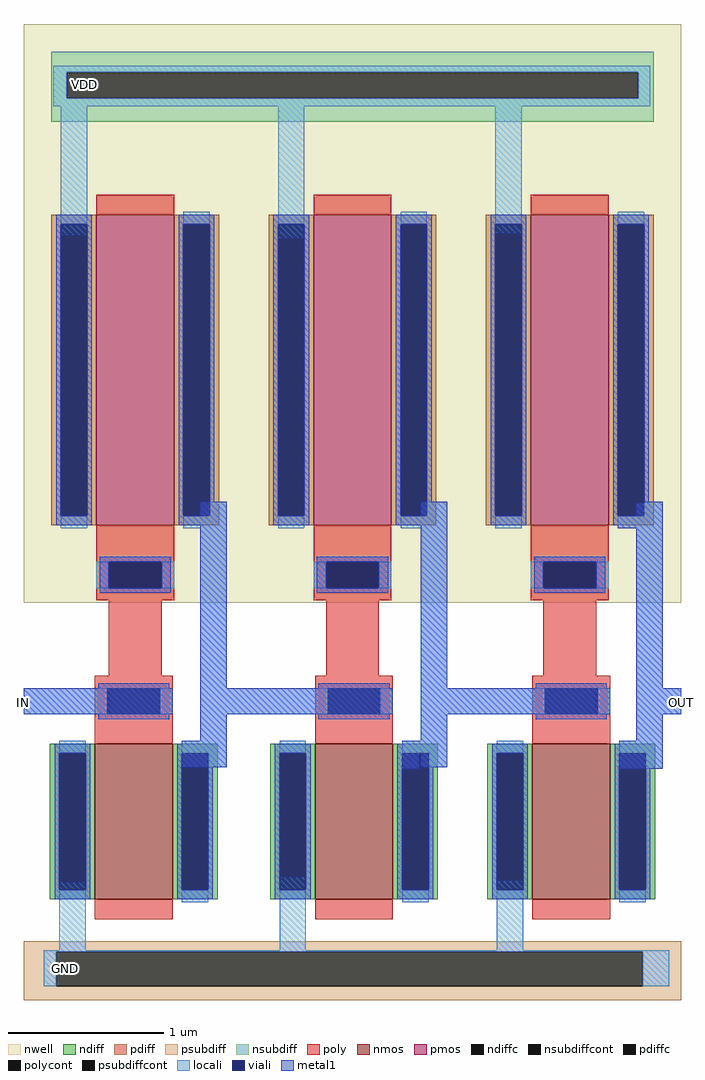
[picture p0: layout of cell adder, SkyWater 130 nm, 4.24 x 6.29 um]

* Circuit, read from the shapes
.subckt adder OUT IN GND VDD
XM1 n1 IN GND GND sky130_fd_pr__nfet_01v8 w=1 l=0.5
XM2 n2 n1 GND GND sky130_fd_pr__nfet_01v8 w=1 l=0.5
XM3 OUT n2 GND GND sky130_fd_pr__nfet_01v8 w=1 l=0.5
XM4 n1 IN VDD VDD sky130_fd_pr__pfet_01v8 w=2 l=0.5
XM5 n2 n1 VDD VDD sky130_fd_pr__pfet_01v8 w=2 l=0.5
XM6 OUT n2 VDD VDD sky130_fd_pr__pfet_01v8 w=2 l=0.5
.ends

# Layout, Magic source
magic
tech sky130A
magscale 1 2
<< nwell >>
rect 750 2052 1598 2236
rect 1550 1618 1574 1620
rect 1516 1586 1540 1590
<< psubdiff >>
rect 750 1040 1598 1054
rect 750 996 792 1040
rect 1548 996 1598 1040
rect 750 978 1598 996
<< nsubdiff >>
rect 786 2174 1562 2200
rect 786 2140 806 2174
rect 1542 2140 1562 2174
rect 786 2110 1562 2140
<< psubdiffcont >>
rect 792 996 1548 1040
<< nsubdiffcont >>
rect 806 2140 1542 2174
<< poly >>
rect 860 1344 928 1544
rect 1140 1344 1208 1544
rect 1420 1344 1488 1544
<< locali >>
rect 788 2174 1558 2182
rect 788 2140 806 2174
rect 1542 2140 1558 2174
rect 788 2130 1558 2140
rect 798 1964 832 2130
rect 1078 1960 1112 2130
rect 1358 1966 1392 2130
rect 978 1380 1012 1620
rect 1262 1380 1296 1620
rect 1550 1618 1574 1620
rect 1540 1590 1574 1618
rect 1516 1586 1574 1590
rect 1540 1380 1574 1586
rect 750 1346 942 1380
rect 978 1346 1226 1380
rect 1262 1346 1506 1380
rect 1540 1346 1598 1380
rect 978 1312 1012 1346
rect 1262 1312 1296 1346
rect 1540 1312 1574 1346
rect 954 1278 1012 1312
rect 1238 1308 1296 1312
rect 1238 1276 1260 1308
rect 1262 1278 1296 1308
rect 1518 1276 1574 1312
rect 796 1042 830 1130
rect 1080 1042 1114 1136
rect 1360 1042 1394 1132
rect 776 1040 1582 1042
rect 776 996 792 1040
rect 1548 996 1582 1040
<< metal1 >>
rect 978 1380 1012 1620
rect 1262 1380 1296 1620
rect 1550 1618 1574 1620
rect 1540 1590 1574 1618
rect 1516 1586 1574 1590
rect 1540 1380 1574 1586
rect 750 1346 942 1380
rect 978 1346 1226 1380
rect 1262 1346 1506 1380
rect 1540 1346 1598 1380
rect 978 1312 1012 1346
rect 1262 1312 1296 1346
rect 1540 1312 1574 1346
rect 954 1278 1012 1312
rect 1238 1308 1296 1312
rect 1238 1276 1260 1308
rect 1262 1278 1296 1308
rect 1518 1276 1574 1312
use sky130_fd_pr__pfet_01v8_G3UWY6  XM1
transform 1 0 894 0 1 1754
box -144 -264 144 298
use sky130_fd_pr__pfet_01v8_G3UWY6  XM2
transform 1 0 1174 0 1 1754
box -144 -264 144 298
use sky130_fd_pr__nfet_01v8_N5USK7  XM4
transform 1 0 892 0 1 1239
box -108 -157 108 157
use sky130_fd_pr__nfet_01v8_WSTS35  XM6
transform -1 0 1456 0 1 1239
box -108 -157 108 157
use sky130_fd_pr__nfet_01v8_N5USK7  sky130_fd_pr__nfet_01v8_N5USK7_0
transform 1 0 1176 0 1 1239
box -108 -157 108 157
use sky130_fd_pr__pfet_01v8_G3UWY6  sky130_fd_pr__pfet_01v8_G3UWY6_0
transform 1 0 1454 0 1 1754
box -144 -264 144 298
<< labels >>
rlabel metal1 1598 1362 1598 1362 3 OUT
port 1 e
rlabel metal1 750 1362 750 1362 7 IN
port 2 w
rlabel psubdiffcont 804 1018 804 1018 7 GND
port 3 w
rlabel nsubdiffcont 828 2158 828 2158 7 VDD
port 4 w
<< end >>

# cell sky130_fd_pr__pfet_01v8_G3UWY6: kit device sky130_fd_pr__pfet_01v8, w 2.0 l 0.5 m 1 nf 1 diffcov 100 polycov 100 guard 0 glc 1 grc 1 gtc 1 gbc 1 tbcov 100 rlcov 100 topc 0 botc 1 poverlap 0 doverlap 1 lmin 0.15 wmin 0.42 compatible {sky130_fd_pr__pfet_01v8 sky130_fd_pr__pfet_01v8_lvt sky130_fd_pr__pfet_01v8_hvt sky130_fd_pr__pfet_g5v0d10v5} full_metal 1 viasrc 100 viadrn 100 viagate 100 viagb 0 viagr 0 viagl 0 viagt 0

# cell sky130_fd_pr__nfet_01v8_N5USK7: kit device sky130_fd_pr__nfet_01v8, w 1.0 l 0.5 m 1 nf 1 diffcov 100 polycov 100 guard 0 glc 1 grc 1 gtc 1 gbc 1 tbcov 100 rlcov 100 topc 1 botc 0 poverlap 0 doverlap 1 lmin 0.15 wmin 0.42 compatible {sky130_fd_pr__nfet_01v8 sky130_fd_pr__nfet_01v8_lvt sky130_fd_bs_flash__special_sonosfet_star sky130_fd_pr__nfet_g5v0d10v5 sky130_fd_pr__nfet_05v0_nvt sky130_fd_pr__nfet_03v3_nvt} full_metal 1 viasrc 100 viadrn 100 viagate 100 viagb 0 viagr 0 viagl 0 viagt 0

# cell sky130_fd_pr__nfet_01v8_WSTS35: kit device sky130_fd_pr__nfet_01v8, w 1.0 l 0.5 m 1 nf 1 diffcov 100 polycov 100 guard 0 glc 0 grc 1 gtc 1 gbc 1 tbcov 100 rlcov 100 topc 1 botc 0 poverlap 0 doverlap 1 lmin 0.15 wmin 0.42 compatible {sky130_fd_pr__nfet_01v8 sky130_fd_pr__nfet_01v8_lvt sky130_fd_bs_flash__special_sonosfet_star sky130_fd_pr__nfet_g5v0d10v5 sky130_fd_pr__nfet_05v0_nvt sky130_fd_pr__nfet_03v3_nvt} full_metal 1 viasrc 100 viadrn 100 viagate 100 viagb 0 viagr 0 viagl 0 viagt 0
